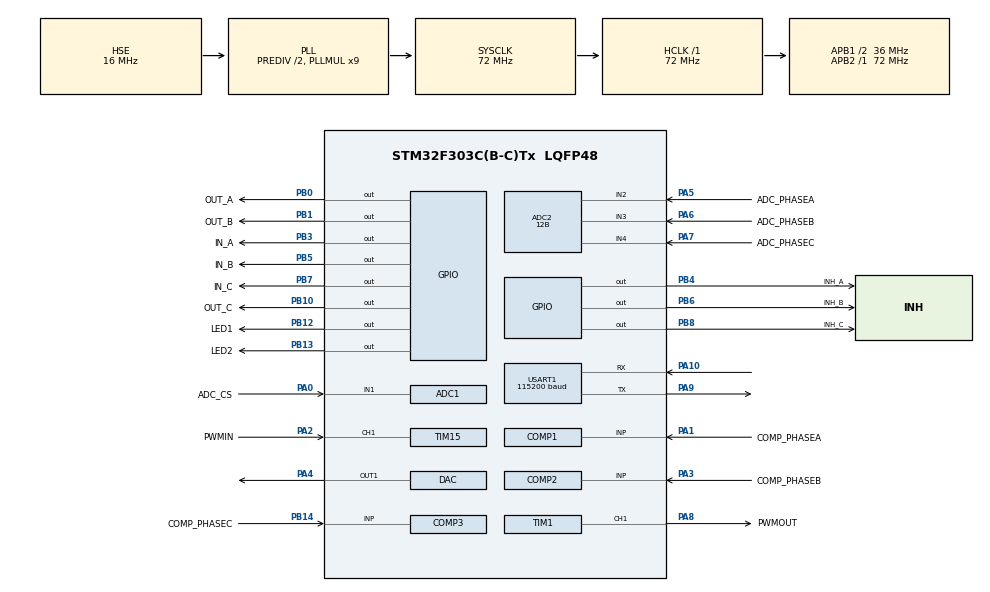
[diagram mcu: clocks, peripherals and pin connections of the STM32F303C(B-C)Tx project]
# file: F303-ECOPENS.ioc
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ADC1.Channel-0\#ChannelRegularConversion=ADC_CHANNEL_1
ADC1.ContinuousConvMode=ENABLE
ADC1.EnableInjectedConversion=DISABLE
ADC1.ExternalTrigConv=ADC_SOFTWARE_START
ADC1.ExternalTrigConvEdge=ADC_EXTERNALTRIGCONVEDGE_NONE
ADC1.NbrOfConversion=1
ADC1.NbrOfConversionFlag=1
ADC1.Offset-0\#ChannelRegularConversion=0
ADC1.OffsetNumber-0\#ChannelRegularConversion=ADC_OFFSET_NONE
ADC1.Rank-0\#ChannelRegularConversion=1
ADC1.SamplingTime-0\#ChannelRegularConversion=ADC_SAMPLETIME_2CYCLES_5
ADC1.SamplingTimeOPAMP-0\#ChannelRegularConversion=ADC_SAMPLETIME_4CYCLES_5
ADC1.master=1
ADC2.Channel-1\#ChannelRegularConversion=ADC_CHANNEL_2
ADC2.ContinuousConvMode=ENABLE
ADC2.EnableInjectedConversion=DISABLE
ADC2.ExternalTrigConv=ADC_SOFTWARE_START
ADC2.NbrOfConversion=1
ADC2.NbrOfConversionFlag=1
ADC2.Offset-1\#ChannelRegularConversion=0
ADC2.OffsetNumber-1\#ChannelRegularConversion=ADC_OFFSET_NONE
ADC2.Rank-1\#ChannelRegularConversion=1
ADC2.Resolution=ADC_RESOLUTION_12B
ADC2.SamplingTime-1\#ChannelRegularConversion=ADC_SAMPLETIME_2CYCLES_5
COMP1.BlankingSrce=COMP_BLANKINGSRCE_TIM1OC5
COMP1.InvertingInput=COMP_INVERTINGINPUT_DAC1_CH1
COMP1.TriggerMode=COMP_TRIGGERMODE_IT_RISING_FALLING
COMP2.BlankingSrce=COMP_BLANKINGSRCE_TIM1OC5
COMP2.InvertingInput=COMP_INVERTINGINPUT_DAC1_CH1
COMP2.TriggerMode=COMP_TRIGGERMODE_IT_RISING_FALLING
COMP3.BlankingSrce=COMP_BLANKINGSRCE_TIM1OC5
COMP3.InvertingInput=COMP_INVERTINGINPUT_DAC1_CH1
COMP3.TriggerMode=COMP_TRIGGERMODE_IT_RISING_FALLING
Dma.Request0=USART1_RX
Dma.USART1_RX.0.Direction=DMA_PERIPH_TO_MEMORY
Dma.USART1_RX.0.Instance=DMA1_Channel5
Dma.USART1_RX.0.MemDataAlignment=DMA_MDATAALIGN_BYTE
Dma.USART1_RX.0.MemInc=DMA_MINC_ENABLE
Dma.USART1_RX.0.Mode=DMA_CIRCULAR
Dma.USART1_RX.0.PeriphDataAlignment=DMA_PDATAALIGN_BYTE
Dma.USART1_RX.0.PeriphInc=DMA_PINC_DISABLE
Dma.USART1_RX.0.Priority=DMA_PRIORITY_LOW
Mcu.Family=STM32F3
Mcu.Name=STM32F303C(B-C)Tx
Mcu.Package=LQFP48
NVIC.ADC1_2_IRQn=true\:0\:0\:true\:false\:true\:true\:true
NVIC.COMP1_2_3_IRQn=true\:0\:0\:false\:false\:true\:false\:true
NVIC.DMA1_Channel5_IRQn=true\:0\:0\:false\:false\:true\:false\:true
NVIC.PriorityGroup=NVIC_PRIORITYGROUP_4
NVIC.TIM1_BRK_TIM15_IRQn=true\:0\:0\:true\:false\:true\:true\:true
NVIC.TIM1_CC_IRQn=true\:0\:0\:false\:false\:true\:true\:true
NVIC.TIM3_IRQn=true\:0\:0\:true\:false\:true\:true\:true
NVIC.TIM6_DAC_IRQn=true\:2\:0\:true\:false\:true\:true\:true
NVIC.USART1_IRQn=true\:1\:0\:true\:false\:true\:true\:true
PA0.GPIO_Label=ADC_CS
PA0.Mode=IN1-Single-Ended
PA0.Signal=ADC1_IN1
PA1.GPIO_Label=COMP_PHASEA
PA1.Mode=INP
PA1.Signal=COMP1_INP
PA10.Mode=Asynchronous
PA10.Signal=USART1_RX
PA13.Mode=Serial_Wire
PA13.Signal=SYS_JTMS-SWDIO
PA14.Mode=Serial_Wire
PA14.Signal=SYS_JTCK-SWCLK
PA2.GPIO_Label=PWMIN
PA2.GPIO_PuPd=GPIO_PULLDOWN
PA2.Signal=S_TIM15_CH1
PA3.GPIO_Label=COMP_PHASEB
PA3.Mode=INP
PA3.Signal=COMP2_INP
PA4.Signal=COMP_DAC1_group
PA5.GPIO_Label=ADC_PHASEA
PA5.Signal=SharedAnalog_PA5
PA6.GPIO_Label=ADC_PHASEB
PA6.Mode=IN3-Single-Ended
PA6.Signal=ADC2_IN3
PA7.GPIO_Label=ADC_PHASEC
PA7.Mode=IN4-Single-Ended
PA7.Signal=ADC2_IN4
PA8.GPIO_Label=PWMOUT
PA8.GPIO_PuPd=GPIO_PULLDOWN
PA8.GPIO_Speed=GPIO_SPEED_FREQ_MEDIUM
PA8.Signal=S_TIM1_CH1
PA9.Mode=Asynchronous
PA9.Signal=USART1_TX
PB0.GPIO_Label=OUT_A
PB0.GPIO_ModeDefaultOutputPP=GPIO_MODE_OUTPUT_OD
PB0.Signal=GPIO_Output
PB1.GPIO_Label=OUT_B
PB1.GPIO_ModeDefaultOutputPP=GPIO_MODE_OUTPUT_OD
PB1.Signal=GPIO_Output
PB10.GPIO_Label=OUT_C
PB10.GPIO_ModeDefaultOutputPP=GPIO_MODE_OUTPUT_OD
PB10.Signal=GPIO_Output
PB12.GPIO_Label=LED1
PB12.Signal=GPIO_Output
PB13.GPIO_Label=LED2
PB13.Signal=GPIO_Output
PB14.GPIO_Label=COMP_PHASEC
PB14.Mode=INP
PB14.Signal=COMP3_INP
PB3.GPIO_Label=IN_A
PB3.GPIO_ModeDefaultOutputPP=GPIO_MODE_OUTPUT_OD
PB3.Signal=GPIO_Output
PB4.GPIO_Label=INH_A
PB4.Signal=GPIO_Output
PB5.GPIO_Label=IN_B
PB5.GPIO_ModeDefaultOutputPP=GPIO_MODE_OUTPUT_OD
PB5.Signal=GPIO_Output
PB6.GPIO_Label=INH_B
PB6.Signal=GPIO_Output
PB7.GPIO_Label=IN_C
PB7.GPIO_ModeDefaultOutputPP=GPIO_MODE_OUTPUT_OD
PB7.Signal=GPIO_Output
PB8.GPIO_Label=INH_C
PB8.Signal=GPIO_Output
PF0-OSC_IN.Mode=HSE-External-Oscillator
PF0-OSC_IN.Signal=RCC_OSC_IN
PF1-OSC_OUT.Mode=HSE-External-Oscillator
PF1-OSC_OUT.Signal=RCC_OSC_OUT
ProjectManager.HeapSize=0x200
ProjectManager.StackSize=0x400
ProjectManager.TargetToolchain=STM32CubeIDE
RCC.ADC12PRES=RCC_ADC12PLLCLK_DIV10
RCC.AHBFreq_Value=72000000
RCC.APB1CLKDivider=RCC_HCLK_DIV2
RCC.APB1Freq_Value=36000000
RCC.APB1TimFreq_Value=72000000
RCC.APB2Freq_Value=72000000
RCC.APB2TimFreq_Value=72000000
RCC.CortexFreq_Value=72000000
RCC.HCLKFreq_Value=72000000
RCC.HSE_VALUE=16000000
RCC.HSI_VALUE=8000000
RCC.LSE_VALUE=32768
RCC.PLLMUL=RCC_PLL_MUL9
RCC.PLLSourceVirtual=RCC_PLLSOURCE_HSE
RCC.RCC_PLLsource_Clock_Source_FROM_HSE=RCC_HSE_PREDIV_DIV2
RCC.SYSCLKFreq_VALUE=72000000
RCC.SYSCLKSourceVirtual=RCC_SYSCLKSOURCE_PLLCLK
RCC.USBFreq_Value=72000000
SH.COMP_DAC1_group.0=DAC_OUT1,DAC_OUT1
SH.S_TIM15_CH1.0=TIM15_CH1,Input_Capture1_from_TI1
SH.S_TIM15_CH1.1=TIM15_CH1,Input_Capture2_from_TI1
SH.S_TIM1_CH1.0=TIM1_CH1,PWM Generation1 CH1
SH.SharedAnalog_PA5.0=OPAMP2_VINM
SH.SharedAnalog_PA5.1=ADC2_IN2,IN2-Single-Ended
TIM1.Channel-Output\ Compare2\ No\ Output=TIM_CHANNEL_2
TIM1.Channel-PWM\ Generation1\ CH1=TIM_CHANNEL_1
TIM1.Channel-PWM\ Generation5\ No\ Output=TIM_CHANNEL_5
TIM1.CounterMode=TIM_COUNTERMODE_CENTERALIGNED3
TIM1.OCFastMode_PWM-PWM\ Generation1\ CH1=TIM_OCFAST_ENABLE
TIM1.OCIdleState_1=TIM_OCIDLESTATE_SET
TIM1.OCIdleState_2=TIM_OCIDLESTATE_SET
TIM1.OCIdleState_5=TIM_OCIDLESTATE_RESET
TIM1.OCMode_2=TIM_OCMODE_TOGGLE
TIM1.Period=1800 - 1
TIM1.Prescaler=2 - 1
TIM1.Pulse-Output\ Compare2\ No\ Output=100
TIM1.Pulse-PWM\ Generation1\ CH1=100
TIM1.Pulse-PWM\ Generation5\ No\ Output=120
TIM15.Channel-Input_Capture1_from_TI1=TIM_CHANNEL_1
TIM15.Channel-Input_Capture2_from_TI1=TIM_CHANNEL_2
TIM15.ICPolarity_CH2=TIM_INPUTCHANNELPOLARITY_FALLING
TIM15.Prescaler=72 - 1
TIM2.Prescaler=0
TIM3.Channel-Output\ Compare1\ No\ Output=TIM_CHANNEL_1
TIM3.Channel-Output\ Compare2\ No\ Output=TIM_CHANNEL_2
TIM3.ClockDivision=TIM_CLOCKDIVISION_DIV1
TIM3.Period=65000
TIM3.Prescaler=1
TIM3.Pulse-Output\ Compare1\ No\ Output=500
TIM3.Pulse-Output\ Compare2\ No\ Output=500
TIM6.Period=1000 - 1
TIM6.Prescaler=72 - 1
TIM7.Prescaler=72 - 1
USART1.BaudRate=115200
USART1.VirtualMode-Asynchronous=VM_ASYNC
VP_COMP1_VS_DAC1OUT1.Mode=INM_DACOUT1
VP_COMP2_VS_DAC1OUT1.Mode=INM_DACOUT1
VP_COMP3_VS_DAC1OUT1.Mode=INM_DACOUT1
VP_TIM15_VS_ClockSourceINT.Mode=Internal
VP_TIM1_VS_no_output2.Mode=Output Compare2 No Output
VP_TIM1_VS_no_output5.Mode=PWM Generation5 No Output
VP_TIM2_VS_ClockSourceINT.Mode=Internal
VP_TIM3_VS_no_output1.Mode=Output Compare1 No Output
VP_TIM3_VS_no_output2.Mode=Output Compare2 No Output
VP_TIM6_VS_ClockSourceINT.Mode=Enable_Timer
VP_TIM7_VS_ClockSourceINT.Mode=Enable_Timer
board=custom

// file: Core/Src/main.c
/* USER CODE BEGIN Header */
/**
  ******************************************************************************
  * @file           : main.c
  * @brief          : Main program body
  ******************************************************************************
  * @attention
  *
  * <h2><center>&copy; Copyright (c) 2020 STMicroelectronics.
  * All rights reserved.</center></h2>
  *
  * This software component is licensed by ST under BSD 3-Clause license,
  * the "License"; You may not use this file except in compliance with the
  * License. You may obtain a copy of the License at:
  *                        opensource.org/licenses/BSD-3-Clause
  *
  ******************************************************************************
  */
/* USER CODE END Header */
#include "main.h"

/* USER CODE BEGIN Includes */
#include <string.h>
#include <stdbool.h>
#include <stdlib.h>
#include <stdio.h>
#include "dwt_delay.h"
/* USER CODE END Includes */

/* USER CODE BEGIN PTD */
typedef enum{
	MODE_MOTOR_STOP,
	MODE_MOTOR_START,
	MODE_MOTOR_RUN
} MODE_MOTOR_t;
/* USER CODE END PTD */

ADC_HandleTypeDef hadc1;
ADC_HandleTypeDef hadc2;

COMP_HandleTypeDef hcomp1;
COMP_HandleTypeDef hcomp2;
COMP_HandleTypeDef hcomp3;

DAC_HandleTypeDef hdac;

TIM_HandleTypeDef htim1;
TIM_HandleTypeDef htim2;
TIM_HandleTypeDef htim3;
TIM_HandleTypeDef htim6;
TIM_HandleTypeDef htim7;
TIM_HandleTypeDef htim15;

UART_HandleTypeDef huart1;
DMA_HandleTypeDef hdma_usart1_rx;

/* USER CODE BEGIN PV */
uint8_t buffer[200];
volatile uint16_t strSize;
volatile int commutationTimerCounter = 2000;
volatile uint16_t commutationTimerCounterArray[6] = { 20000, 20000, 2000, 20000, 20000, 20000 };
volatile uint8_t commutationStepCounter;
volatile uint8_t waitForCommutation = 1;
volatile uint16_t myADCvalue;
volatile uint16_t commutationTimerCounterAverage;
volatile uint16_t counterTIM3Values;
volatile int16_t commutationTimerOffset;

volatile uint32_t tim2cnt;
uint8_t RXBuffer[200];
bool USART1DataFlag = false;

volatile int16_t newPWM = 100;
volatile int16_t setPWM = 100;
volatile int16_t compWindowOffset = 300; //this opens a comparator window to block overshooting signals from triggering (adjust to Vbat)
volatile uint16_t oc5Value = 128;  //preset offset-value (for fine tuning) of the DAC voltage output as the reference voltage for the compartors (about 0V or Vbat/2)
volatile uint8_t pwmState = 0; //indicates whether a zero crossing (pwm low) or a Vbat/2 crossing (pwm high) will be detected; 0 = PWM low detection, 1 = PWM high detection
volatile uint8_t bTransferRequest = 0;
volatile uint8_t motorGotStarted = 0;

volatile ADC_ChannelConfTypeDef sConfig;
volatile float adcOffset = 0.00003f;
volatile float adcIntegral = 0.0f;
volatile uint8_t adcCounter = 0;
uint32_t current_senseADC;

volatile bool readRotation = false;

float measuredRPM = 0;
float inputRPM = 0;
uint32_t rpm_cnt = 0;

uint16_t input_pwm_min = 1000;
uint16_t input_pwm_max = 2000;

uint32_t inputDutyCycle = 0;
float inputFrequency = 0;
uint16_t oc5ValueOld = 0;

MODE_MOTOR_t mode_motor = MODE_MOTOR_STOP;
DMA_Event_t dma_uart_rx = {0, 0, DMA_BUF_SIZE};
uint8_t dma_rx_buf[DMA_BUF_SIZE];
uint8_t data[DMA_BUF_SIZE] = {'\0'};

/* USER CODE END PV */

void SystemClock_Config(void);
static void MX_GPIO_Init(void);
static void MX_DMA_Init(void);
static void MX_ADC1_Init(void);
static void MX_COMP1_Init(void);
static void MX_COMP2_Init(void);
static void MX_COMP3_Init(void);
static void MX_DAC_Init(void);
static void MX_TIM1_Init(void);
static void MX_TIM3_Init(void);
static void MX_USART1_UART_Init(void);
static void MX_ADC2_Init(void);
static void MX_TIM15_Init(void);
static void MX_TIM2_Init(void);
static void MX_TIM6_Init(void);
static void MX_TIM7_Init(void);
/* USER CODE BEGIN PFP */
void Controller(){
	float kp = 0.005f, ki = 0.0025f, kd = 0.00f;
	float error = (float)(inputRPM - measuredRPM);

	static float sumIntegral;
	sumIntegral += error * (tim2cnt / 72000000);
	sumIntegral = constrain(sumIntegral, -7000, 7000);

	static float preverror;
	float derivative = error - preverror * (tim2cnt / 72000000);
	preverror = error;

	float output = kp * error + ki * sumIntegral + kd * derivative;

	float pwmError = output / 5.11111;

	newPWM += (int16_t)pwmError;
	newPWM = constrain(newPWM + pwmError, PWM_MIN, PWM_MAX);
	setPWM = newPWM;

	TIM1->CCR1 = setPWM;
	TIM1->CCR5 = setPWM + compWindowOffset;

}

void getUSARTData(){
	 if(USART1DataFlag){
		 USART1DataFlag = false;
		 if(data[0] == '#'){
			 if(memcmp(data + 1, "PWM=", 4) == 0 || memcmp(data + 1, "pwm=", 4) == 0){
				uint8_t value[4];
				memcpy(value, data + 5, 4);
				uint16_t x = atoi(value);
				if(x){
					x = constrain(x, 1000, 2000);
					newPWM = map(x, 1000, 2000, PWM_MIN, PWM_MAX);
					setPWM = newPWM;

					TIM1->CCR1 = setPWM;
					TIM1->CCR5 = setPWM + compWindowOffset;

					strSize = sprintf((char*)buffer, "PWM: %d\r\n", newPWM);
					HAL_UART_Transmit(&huart1, buffer, strSize, 50);
				}
			}
			else if(memcmp(data + 1, "OCO=", 4) == 0 || memcmp(data + 1, "oco=", 4) == 0){
				uint8_t value[3];
				memcpy(value, data + 5, 3);
				uint16_t x = atoi(value);
				if(x) oc5Value  = constrain(x, 0, 255);
				strSize = sprintf((char*)buffer, "oc5: %d\r\n", oc5Value);
				HAL_UART_Transmit(&huart1, buffer, strSize, 50);
			}
			else if(memcmp(data + 1, "STA", 3) == 0 || memcmp(data + 1, "sta", 3) == 0){
				motorGotStarted = 1;
				strSize = sprintf((char*)buffer, "Start Motor\r\n");
				HAL_UART_Transmit(&huart1, buffer, strSize, 50);
			}
			else if(memcmp(data + 1, "STO", 3) == 0 || memcmp(data + 1, "sto", 3) == 0){
				newPWM = setPWM = 0;
				TIM1->CCR1 = setPWM;
				TIM1->CCR5 = setPWM + compWindowOffset;
				motorGotStarted = 0;
				strSize = sprintf((char*)buffer, "Stop Motor\r\n");
				HAL_UART_Transmit(&huart1, buffer, strSize, 50);
			}
		}
	 }
}
void commutateNow_0(void){
	HAL_GPIO_WritePin(INH_B_GPIO_Port, INH_B_Pin, GPIO_PIN_RESET);
	HAL_GPIO_WritePin(IN_C_GPIO_Port, IN_C_Pin, GPIO_PIN_RESET);
	HAL_GPIO_WritePin(INH_C_GPIO_Port, INH_C_Pin, GPIO_PIN_SET);
}

void commutateNow_1(void){
	HAL_GPIO_WritePin(INH_A_GPIO_Port, INH_A_Pin, GPIO_PIN_RESET);
	HAL_GPIO_WritePin(IN_B_GPIO_Port, IN_B_Pin, GPIO_PIN_SET);
	HAL_GPIO_WritePin(INH_B_GPIO_Port, INH_B_Pin, GPIO_PIN_SET);
}

void commutateNow_2(void){
	HAL_GPIO_WritePin(IN_A_GPIO_Port, IN_A_Pin, GPIO_PIN_RESET);
	HAL_GPIO_WritePin(INH_A_GPIO_Port, INH_A_Pin, GPIO_PIN_SET);
	HAL_GPIO_WritePin(INH_C_GPIO_Port, INH_C_Pin, GPIO_PIN_RESET);
}

void commutateNow_3(void){
	HAL_GPIO_WritePin(INH_B_GPIO_Port, INH_B_Pin, GPIO_PIN_RESET); //INH_B connected to ground, IC B Sleep Mode
	HAL_GPIO_WritePin(IN_C_GPIO_Port, IN_C_Pin, GPIO_PIN_SET); //IN_C floating, pwm mode
	HAL_GPIO_WritePin(INH_C_GPIO_Port, INH_C_Pin, GPIO_PIN_SET); //INH_C is high, IC C Active Mode

}

void commutateNow_4(void){
	HAL_GPIO_WritePin(INH_A_GPIO_Port, INH_A_Pin, GPIO_PIN_RESET); //INH_A connected to ground, IC A Sleep Mode
	HAL_GPIO_WritePin(IN_B_GPIO_Port, IN_B_Pin, GPIO_PIN_RESET); //IN_B connected to ground
	HAL_GPIO_WritePin(INH_B_GPIO_Port, INH_B_Pin, GPIO_PIN_SET); //INH_B is high, IC B Active Mode

}
void commutateNow_5(void){
	HAL_GPIO_WritePin(IN_A_GPIO_Port, IN_A_Pin, GPIO_PIN_SET); //IN_A connected to ground, PWM Mode
	HAL_GPIO_WritePin(INH_A_GPIO_Port, INH_A_Pin, GPIO_PIN_SET); //INH_A is HIGH, IC A Active Mode
	HAL_GPIO_WritePin(INH_C_GPIO_Port, INH_C_Pin, GPIO_PIN_RESET); //INH_C connected to ground, IC C Sleep Mode
}

void commutationPattern(uint8_t step){
	if (step == NEXT && waitForCommutation == 1) {
		if (commutationStepCounter < STEP_5)
			commutationStepCounter++;
		else{
			tim2cnt = __HAL_TIM_GET_COUNTER(&htim2);
			__HAL_TIM_SET_COUNTER(&htim2, 0);
			measuredRPM = getRPM(tim2cnt);
			commutationStepCounter = STEP_0;
			//Controller();
		}
		switch (commutationStepCounter) {
		case STEP_0:
			commutateNow_0();
			COMPDELAY;
			waitForCommutation = 0;
			HAL_COMP_Start_IT(&hcomp2);
			break;
		case STEP_1:
			commutateNow_1();
			COMPDELAY;
			waitForCommutation = 0;
			HAL_COMP_Start_IT(&hcomp1);
			break;
		case STEP_2:
			commutateNow_2();
			COMPDELAY;
			waitForCommutation = 0;
			HAL_COMP_Start_IT(&hcomp3);
			break;
		case STEP_3:
			commutateNow_3();
			COMPDELAY;
			waitForCommutation = 0;
			HAL_COMP_Start_IT(&hcomp2);
			break;
		case STEP_4:
			commutateNow_4();
			COMPDELAY;
			waitForCommutation = 0;
			HAL_COMP_Start_IT(&hcomp1);
			break;
		case STEP_5:
			commutateNow_5();
			COMPDELAY;
			waitForCommutation = 0;
			HAL_COMP_Start_IT(&hcomp3);
			break;
		}
	} else {
		waitForCommutation = 0;
		switch (step) {
		case STEP_0:
			commutateNow_0();
			break;
		case STEP_1:
			commutateNow_1();
			break;
		case STEP_2:
			commutateNow_2();
			break;
		case STEP_3:
			commutateNow_3();
			break;
		case STEP_4:
			commutateNow_4();
			break;
		case STEP_5:
			commutateNow_5();
			break;
		}
	}
	//Controller();
}

/*void startMotor(void){
	newPWM = setPWM = 300;
	compWindowOffset = 200;
	TIM1->CCR1 = setPWM;
	TIM1->CCR5 = setPWM + compWindowOffset;

	commutateNow_0();
	HAL_Delay(150);
	commutationStepCounter = STEP_0;
	waitForCommutation = 1;

	for (uint16_t i = 0; i <1; i++) {
		commutationPattern(NEXT);
		waitForCommutation = 1;
		HAL_Delay(150);
	}
	HAL_Delay(150);
	motorGotStarted = 2;
}*/

void startMotor(){
	mode_motor = MODE_MOTOR_START;
	newPWM = setPWM = 200;

	TIM1->CCR1 = setPWM;
	TIM1->CCR5 = setPWM + compWindowOffset;

	uint8_t step = 0;
	uint16_t i = 2020;

	while(i > 1300){
		DWT_Delay(i);
		commutationPattern(step);
		step += 1;
		step %= 6;
		i -= 10;
		//DWT_Delay(10);
	}
	/*commutateNow_0();
	HAL_Delay(20);
	commutateNow_2();
	HAL_Delay(20);
	commutateNow_4();
	HAL_Delay(20);
	commutateNow_5();
	HAL_Delay(20);*/
	commutationStepCounter = STEP_0;
	waitForCommutation = 1;
	__HAL_TIM_SET_COUNTER(&htim2, 0);
	commutationPattern(NEXT);
	waitForCommutation = 1;
	motorGotStarted = 2;
}

/* USER CODE END PFP */

int main(void)
{

  /* MCU Configuration--------------------------------------------------------*/

  /* Reset of all peripherals, Initializes the Flash interface and the Systick. */
  HAL_Init();

  /* Configure the system clock */
  SystemClock_Config();

  /* Initialize all configured peripherals */
  MX_GPIO_Init();
  MX_DMA_Init();
  MX_ADC1_Init();
  MX_COMP1_Init();
  MX_COMP2_Init();
  MX_COMP3_Init();
  MX_DAC_Init();
  MX_TIM1_Init();
  MX_TIM3_Init();
  MX_USART1_UART_Init();
  MX_ADC2_Init();
  MX_TIM15_Init();
  MX_TIM2_Init();
  MX_TIM6_Init();
  MX_TIM7_Init();
  /* USER CODE BEGIN 2 */
  HAL_Delay(500);
  DWT_Init();

  HAL_TIM_Base_Start(&htim2);
  HAL_TIM_Base_Start_IT(&htim6);

  sConfig.Rank = ADC_REGULAR_RANK_1;
  sConfig.SingleDiff = ADC_SINGLE_ENDED;
  sConfig.SamplingTime = ADC_SAMPLETIME_7CYCLES_5;
  sConfig.OffsetNumber = ADC_OFFSET_NONE;
  sConfig.Offset = 0;

  //HAL_ADC_Start(&hadc2);

  HAL_TIM_PWM_Start(&htim1, TIM_CHANNEL_1);
  HAL_TIM_PWM_Start(&htim1, TIM_CHANNEL_5);
  HAL_TIM_OC_Start(&htim1, TIM_CHANNEL_2);
  HAL_TIM_Base_Start(&htim7);

  //HAL_TIM_OC_Start_IT(&htim3, TIM_CHANNEL_1);
  HAL_DAC_Start(&hdac, DAC_CHANNEL_1);
  HAL_DAC_SetValue(&hdac, DAC_CHANNEL_1, DAC_ALIGN_12B_R, 0);
  newPWM = setPWM = TIM1->CCR1 = TIM1->CCR5 = 0;

  __HAL_UART_ENABLE_IT(&huart1, UART_IT_IDLE);

  if(HAL_UART_Receive_DMA(&huart1, dma_rx_buf, DMA_BUF_SIZE) != HAL_OK){
	  Error_Handler();
  }

  __HAL_DMA_DISABLE_IT(huart1.hdmarx, DMA_IT_HT);

  HAL_TIM_IC_Start_IT(&htim15, TIM_CHANNEL_1);
  HAL_TIM_IC_Start_IT(&htim15, TIM_CHANNEL_2);

  strSize = sprintf((char*)buffer, "Test\r\n");
  HAL_UART_Transmit(&huart1, buffer, strSize, 10);
  HAL_GPIO_WritePin(GPIOB, LED1_Pin, GPIO_PIN_SET);
  motorGotStarted = 0;

  /* USER CODE END 2 */

  /* Infinite loop */
  /* USER CODE BEGIN WHILE */
  while (1)
  {
	  if(motorGotStarted == 1){
		  startMotor();
		  HAL_ADC_Start(&hadc1);
	  }

	  strSize = sprintf((char*)buffer, "%f\r\n", measuredRPM);
	  HAL_UART_Transmit(&huart1, buffer, strSize, 10);
	  //uint32_t x = adcIntegral;
	  getUSARTData();
	  //strSize=sprintf((char*)buffer, "ulang\r\n");
	  //HAL_UART_Transmit(&huart1, buffer, strSize, 10);
	  /*if(readRotation){
		  static float xyz;
		  xyz = (float)tim2cnt;
		  rpm = getRPM(xyz);
		  //strSize = sprintf((char*)buffer, "%f\r\n", rpm);
		  //HAL_UART_Transmit_IT(&huart1, buffer, strSize);
		  readRotation = false;
	  }*/
		if(__HAL_ADC_GET_FLAG(&hadc1, ADC_FLAG_EOC) == SET){
			current_senseADC = HAL_ADC_GetValue(&hadc1);
			//strSize = sprintf((char*)buffer, "%lu\r\n", current_senseADC);
			//HAL_UART_Transmit_IT(&huart1, buffer, strSize);
		}

    /* USER CODE END WHILE */

  }
}

void SystemClock_Config(void)
{
  RCC_OscInitTypeDef RCC_OscInitStruct = {0};
  RCC_ClkInitTypeDef RCC_ClkInitStruct = {0};
  RCC_PeriphCLKInitTypeDef PeriphClkInit = {0};

  /** Initializes the RCC Oscillators according to the specified parameters
  * in the RCC_OscInitTypeDef structure.
  */
  RCC_OscInitStruct.OscillatorType = RCC_OSCILLATORTYPE_HSE;
  RCC_OscInitStruct.HSEState = RCC_HSE_ON;
  RCC_OscInitStruct.HSEPredivValue = RCC_HSE_PREDIV_DIV2;
  RCC_OscInitStruct.HSIState = RCC_HSI_ON;
  RCC_OscInitStruct.PLL.PLLState = RCC_PLL_ON;
  RCC_OscInitStruct.PLL.PLLSource = RCC_PLLSOURCE_HSE;
  RCC_OscInitStruct.PLL.PLLMUL = RCC_PLL_MUL9;
  if (HAL_RCC_OscConfig(&RCC_OscInitStruct) != HAL_OK)
  {
    Error_Handler();
  }
  /** Initializes the CPU, AHB and APB buses clocks
  */
  RCC_ClkInitStruct.ClockType = RCC_CLOCKTYPE_HCLK|RCC_CLOCKTYPE_SYSCLK
                              |RCC_CLOCKTYPE_PCLK1|RCC_CLOCKTYPE_PCLK2;
  RCC_ClkInitStruct.SYSCLKSource = RCC_SYSCLKSOURCE_PLLCLK;
  RCC_ClkInitStruct.AHBCLKDivider = RCC_SYSCLK_DIV1;
  RCC_ClkInitStruct.APB1CLKDivider = RCC_HCLK_DIV2;
  RCC_ClkInitStruct.APB2CLKDivider = RCC_HCLK_DIV1;

  if (HAL_RCC_ClockConfig(&RCC_ClkInitStruct, FLASH_LATENCY_2) != HAL_OK)
  {
    Error_Handler();
  }
  PeriphClkInit.PeriphClockSelection = RCC_PERIPHCLK_USART1|RCC_PERIPHCLK_TIM1
                              |RCC_PERIPHCLK_ADC12;
  PeriphClkInit.Usart1ClockSelection = RCC_USART1CLKSOURCE_PCLK2;
  PeriphClkInit.Adc12ClockSelection = RCC_ADC12PLLCLK_DIV10;
  PeriphClkInit.Tim1ClockSelection = RCC_TIM1CLK_HCLK;
  if (HAL_RCCEx_PeriphCLKConfig(&PeriphClkInit) != HAL_OK)
  {
    Error_Handler();
  }
}

static void MX_ADC1_Init(void)
{

  ADC_MultiModeTypeDef multimode = {0};
  ADC_ChannelConfTypeDef sConfig = {0};

  /** Common config
  */
  hadc1.Instance = ADC1;
  hadc1.Init.ClockPrescaler = ADC_CLOCK_ASYNC_DIV1;
  hadc1.Init.Resolution = ADC_RESOLUTION_12B;
  hadc1.Init.ScanConvMode = ADC_SCAN_DISABLE;
  hadc1.Init.ContinuousConvMode = ENABLE;
  hadc1.Init.DiscontinuousConvMode = DISABLE;
  hadc1.Init.ExternalTrigConvEdge = ADC_EXTERNALTRIGCONVEDGE_NONE;
  hadc1.Init.ExternalTrigConv = ADC_SOFTWARE_START;
  hadc1.Init.DataAlign = ADC_DATAALIGN_RIGHT;
  hadc1.Init.NbrOfConversion = 1;
  hadc1.Init.DMAContinuousRequests = DISABLE;
  hadc1.Init.EOCSelection = ADC_EOC_SINGLE_CONV;
  hadc1.Init.LowPowerAutoWait = DISABLE;
  hadc1.Init.Overrun = ADC_OVR_DATA_OVERWRITTEN;
  if (HAL_ADC_Init(&hadc1) != HAL_OK)
  {
    Error_Handler();
  }
  /** Configure the ADC multi-mode
  */
  multimode.Mode = ADC_MODE_INDEPENDENT;
  if (HAL_ADCEx_MultiModeConfigChannel(&hadc1, &multimode) != HAL_OK)
  {
    Error_Handler();
  }
  /** Configure Regular Channel
  */
  sConfig.Channel = ADC_CHANNEL_1;
  sConfig.Rank = ADC_REGULAR_RANK_1;
  sConfig.SingleDiff = ADC_SINGLE_ENDED;
  sConfig.SamplingTime = ADC_SAMPLETIME_2CYCLES_5;
  sConfig.OffsetNumber = ADC_OFFSET_NONE;
  sConfig.Offset = 0;
  if (HAL_ADC_ConfigChannel(&hadc1, &sConfig) != HAL_OK)
  {
    Error_Handler();
  }

}

static void MX_ADC2_Init(void)
{

  ADC_ChannelConfTypeDef sConfig = {0};

  /** Common config
  */
  hadc2.Instance = ADC2;
  hadc2.Init.ClockPrescaler = ADC_CLOCK_ASYNC_DIV1;
  hadc2.Init.Resolution = ADC_RESOLUTION_12B;
  hadc2.Init.ScanConvMode = ADC_SCAN_DISABLE;
  hadc2.Init.ContinuousConvMode = ENABLE;
  hadc2.Init.DiscontinuousConvMode = DISABLE;
  hadc2.Init.ExternalTrigConvEdge = ADC_EXTERNALTRIGCONVEDGE_NONE;
  hadc2.Init.ExternalTrigConv = ADC_SOFTWARE_START;
  hadc2.Init.DataAlign = ADC_DATAALIGN_RIGHT;
  hadc2.Init.NbrOfConversion = 1;
  hadc2.Init.DMAContinuousRequests = DISABLE;
  hadc2.Init.EOCSelection = ADC_EOC_SINGLE_CONV;
  hadc2.Init.LowPowerAutoWait = DISABLE;
  hadc2.Init.Overrun = ADC_OVR_DATA_OVERWRITTEN;
  if (HAL_ADC_Init(&hadc2) != HAL_OK)
  {
    Error_Handler();
  }
  /** Configure Regular Channel
  */
  sConfig.Channel = ADC_CHANNEL_2;
  sConfig.Rank = ADC_REGULAR_RANK_1;
  sConfig.SingleDiff = ADC_SINGLE_ENDED;
  sConfig.SamplingTime = ADC_SAMPLETIME_2CYCLES_5;
  sConfig.OffsetNumber = ADC_OFFSET_NONE;
  sConfig.Offset = 0;
  if (HAL_ADC_ConfigChannel(&hadc2, &sConfig) != HAL_OK)
  {
    Error_Handler();
  }

}

static void MX_COMP1_Init(void)
{

  hcomp1.Instance = COMP1;
  hcomp1.Init.InvertingInput = COMP_INVERTINGINPUT_DAC1_CH1;
  hcomp1.Init.NonInvertingInput = COMP_NONINVERTINGINPUT_IO1;
  hcomp1.Init.Output = COMP_OUTPUT_NONE;
  hcomp1.Init.OutputPol = COMP_OUTPUTPOL_NONINVERTED;
  hcomp1.Init.Hysteresis = COMP_HYSTERESIS_NONE;
  hcomp1.Init.BlankingSrce = COMP_BLANKINGSRCE_TIM1OC5;
  hcomp1.Init.Mode = COMP_MODE_HIGHSPEED;
  hcomp1.Init.WindowMode = COMP_WINDOWMODE_DISABLE;
  hcomp1.Init.TriggerMode = COMP_TRIGGERMODE_IT_RISING_FALLING;
  if (HAL_COMP_Init(&hcomp1) != HAL_OK)
  {
    Error_Handler();
  }

}

static void MX_COMP2_Init(void)
{

  hcomp2.Instance = COMP2;
  hcomp2.Init.InvertingInput = COMP_INVERTINGINPUT_DAC1_CH1;
  hcomp2.Init.NonInvertingInput = COMP_NONINVERTINGINPUT_IO2;
  hcomp2.Init.Output = COMP_OUTPUT_NONE;
  hcomp2.Init.OutputPol = COMP_OUTPUTPOL_NONINVERTED;
  hcomp2.Init.Hysteresis = COMP_HYSTERESIS_NONE;
  hcomp2.Init.BlankingSrce = COMP_BLANKINGSRCE_TIM1OC5;
  hcomp2.Init.Mode = COMP_MODE_HIGHSPEED;
  hcomp2.Init.WindowMode = COMP_WINDOWMODE_DISABLE;
  hcomp2.Init.TriggerMode = COMP_TRIGGERMODE_IT_RISING_FALLING;
  if (HAL_COMP_Init(&hcomp2) != HAL_OK)
  {
    Error_Handler();
  }

}

static void MX_COMP3_Init(void)
{

  hcomp3.Instance = COMP3;
  hcomp3.Init.InvertingInput = COMP_INVERTINGINPUT_DAC1_CH1;
  hcomp3.Init.NonInvertingInput = COMP_NONINVERTINGINPUT_IO1;
  hcomp3.Init.Output = COMP_OUTPUT_NONE;
  hcomp3.Init.OutputPol = COMP_OUTPUTPOL_NONINVERTED;
  hcomp3.Init.Hysteresis = COMP_HYSTERESIS_NONE;
  hcomp3.Init.BlankingSrce = COMP_BLANKINGSRCE_TIM1OC5;
  hcomp3.Init.Mode = COMP_MODE_HIGHSPEED;
  hcomp3.Init.WindowMode = COMP_WINDOWMODE_DISABLE;
  hcomp3.Init.TriggerMode = COMP_TRIGGERMODE_IT_RISING_FALLING;
  if (HAL_COMP_Init(&hcomp3) != HAL_OK)
  {
    Error_Handler();
  }

}

static void MX_DAC_Init(void)
{

  DAC_ChannelConfTypeDef sConfig = {0};

  /** DAC Initialization
  */
  hdac.Instance = DAC;
  if (HAL_DAC_Init(&hdac) != HAL_OK)
  {
    Error_Handler();
  }
  /** DAC channel OUT1 config
  */
  sConfig.DAC_Trigger = DAC_TRIGGER_NONE;
  sConfig.DAC_OutputBuffer = DAC_OUTPUTBUFFER_ENABLE;
  if (HAL_DAC_ConfigChannel(&hdac, &sConfig, DAC_CHANNEL_1) != HAL_OK)
  {
    Error_Handler();
  }

}

static void MX_TIM1_Init(void)
{

  TIM_MasterConfigTypeDef sMasterConfig = {0};
  TIM_OC_InitTypeDef sConfigOC = {0};
  TIM_BreakDeadTimeConfigTypeDef sBreakDeadTimeConfig = {0};

  htim1.Instance = TIM1;
  htim1.Init.Prescaler = 2 - 1;
  htim1.Init.CounterMode = TIM_COUNTERMODE_CENTERALIGNED3;
  htim1.Init.Period = 1800 - 1;
  htim1.Init.ClockDivision = TIM_CLOCKDIVISION_DIV1;
  htim1.Init.RepetitionCounter = 0;
  htim1.Init.AutoReloadPreload = TIM_AUTORELOAD_PRELOAD_DISABLE;
  if (HAL_TIM_PWM_Init(&htim1) != HAL_OK)
  {
    Error_Handler();
  }
  if (HAL_TIM_OC_Init(&htim1) != HAL_OK)
  {
    Error_Handler();
  }
  sMasterConfig.MasterOutputTrigger = TIM_TRGO_RESET;
  sMasterConfig.MasterOutputTrigger2 = TIM_TRGO2_RESET;
  sMasterConfig.MasterSlaveMode = TIM_MASTERSLAVEMODE_DISABLE;
  if (HAL_TIMEx_MasterConfigSynchronization(&htim1, &sMasterConfig) != HAL_OK)
  {
    Error_Handler();
  }
  sConfigOC.OCMode = TIM_OCMODE_PWM1;
  sConfigOC.Pulse = 100;
  sConfigOC.OCPolarity = TIM_OCPOLARITY_HIGH;
  sConfigOC.OCNPolarity = TIM_OCNPOLARITY_HIGH;
  sConfigOC.OCFastMode = TIM_OCFAST_ENABLE;
  sConfigOC.OCIdleState = TIM_OCIDLESTATE_SET;
  sConfigOC.OCNIdleState = TIM_OCNIDLESTATE_RESET;
  if (HAL_TIM_PWM_ConfigChannel(&htim1, &sConfigOC, TIM_CHANNEL_1) != HAL_OK)
  {
    Error_Handler();
  }
  sConfigOC.OCMode = TIM_OCMODE_TOGGLE;
  sConfigOC.OCFastMode = TIM_OCFAST_DISABLE;
  if (HAL_TIM_OC_ConfigChannel(&htim1, &sConfigOC, TIM_CHANNEL_2) != HAL_OK)
  {
    Error_Handler();
  }
  sConfigOC.OCMode = TIM_OCMODE_PWM1;
  sConfigOC.Pulse = 120;
  sConfigOC.OCIdleState = TIM_OCIDLESTATE_RESET;
  if (HAL_TIM_PWM_ConfigChannel(&htim1, &sConfigOC, TIM_CHANNEL_5) != HAL_OK)
  {
    Error_Handler();
  }
  sBreakDeadTimeConfig.OffStateRunMode = TIM_OSSR_DISABLE;
  sBreakDeadTimeConfig.OffStateIDLEMode = TIM_OSSI_DISABLE;
  sBreakDeadTimeConfig.LockLevel = TIM_LOCKLEVEL_OFF;
  sBreakDeadTimeConfig.DeadTime = 0;
  sBreakDeadTimeConfig.BreakState = TIM_BREAK_DISABLE;
  sBreakDeadTimeConfig.BreakPolarity = TIM_BREAKPOLARITY_HIGH;
  sBreakDeadTimeConfig.BreakFilter = 0;
  sBreakDeadTimeConfig.Break2State = TIM_BREAK2_DISABLE;
  sBreakDeadTimeConfig.Break2Polarity = TIM_BREAK2POLARITY_HIGH;
  sBreakDeadTimeConfig.Break2Filter = 0;
  sBreakDeadTimeConfig.AutomaticOutput = TIM_AUTOMATICOUTPUT_DISABLE;
  if (HAL_TIMEx_ConfigBreakDeadTime(&htim1, &sBreakDeadTimeConfig) != HAL_OK)
  {
    Error_Handler();
  }
  HAL_TIM_MspPostInit(&htim1);

}

static void MX_TIM2_Init(void)
{

  TIM_ClockConfigTypeDef sClockSourceConfig = {0};
  TIM_MasterConfigTypeDef sMasterConfig = {0};

  htim2.Instance = TIM2;
  htim2.Init.Prescaler = 0;
  htim2.Init.CounterMode = TIM_COUNTERMODE_UP;
  htim2.Init.Period = 4294967295;
  htim2.Init.ClockDivision = TIM_CLOCKDIVISION_DIV1;
  htim2.Init.AutoReloadPreload = TIM_AUTORELOAD_PRELOAD_DISABLE;
  if (HAL_TIM_Base_Init(&htim2) != HAL_OK)
  {
    Error_Handler();
  }
  sClockSourceConfig.ClockSource = TIM_CLOCKSOURCE_INTERNAL;
  if (HAL_TIM_ConfigClockSource(&htim2, &sClockSourceConfig) != HAL_OK)
  {
    Error_Handler();
  }
  sMasterConfig.MasterOutputTrigger = TIM_TRGO_RESET;
  sMasterConfig.MasterSlaveMode = TIM_MASTERSLAVEMODE_DISABLE;
  if (HAL_TIMEx_MasterConfigSynchronization(&htim2, &sMasterConfig) != HAL_OK)
  {
    Error_Handler();
  }

}

static void MX_TIM3_Init(void)
{

  TIM_MasterConfigTypeDef sMasterConfig = {0};
  TIM_OC_InitTypeDef sConfigOC = {0};

  htim3.Instance = TIM3;
  htim3.Init.Prescaler = 1;
  htim3.Init.CounterMode = TIM_COUNTERMODE_UP;
  htim3.Init.Period = 65000;
  htim3.Init.ClockDivision = TIM_CLOCKDIVISION_DIV1;
  htim3.Init.AutoReloadPreload = TIM_AUTORELOAD_PRELOAD_DISABLE;
  if (HAL_TIM_OC_Init(&htim3) != HAL_OK)
  {
    Error_Handler();
  }
  sMasterConfig.MasterOutputTrigger = TIM_TRGO_RESET;
  sMasterConfig.MasterSlaveMode = TIM_MASTERSLAVEMODE_DISABLE;
  if (HAL_TIMEx_MasterConfigSynchronization(&htim3, &sMasterConfig) != HAL_OK)
  {
    Error_Handler();
  }
  sConfigOC.OCMode = TIM_OCMODE_TIMING;
  sConfigOC.Pulse = 500;
  sConfigOC.OCPolarity = TIM_OCPOLARITY_HIGH;
  sConfigOC.OCFastMode = TIM_OCFAST_DISABLE;
  if (HAL_TIM_OC_ConfigChannel(&htim3, &sConfigOC, TIM_CHANNEL_1) != HAL_OK)
  {
    Error_Handler();
  }
  if (HAL_TIM_OC_ConfigChannel(&htim3, &sConfigOC, TIM_CHANNEL_2) != HAL_OK)
  {
    Error_Handler();
  }

}

static void MX_TIM6_Init(void)
{

  TIM_MasterConfigTypeDef sMasterConfig = {0};

  htim6.Instance = TIM6;
  htim6.Init.Prescaler = 72 - 1;
  htim6.Init.CounterMode = TIM_COUNTERMODE_UP;
  htim6.Init.Period = 1000 - 1;
  htim6.Init.AutoReloadPreload = TIM_AUTORELOAD_PRELOAD_DISABLE;
  if (HAL_TIM_Base_Init(&htim6) != HAL_OK)
  {
    Error_Handler();
  }
  sMasterConfig.MasterOutputTrigger = TIM_TRGO_RESET;
  sMasterConfig.MasterSlaveMode = TIM_MASTERSLAVEMODE_DISABLE;
  if (HAL_TIMEx_MasterConfigSynchronization(&htim6, &sMasterConfig) != HAL_OK)
  {
    Error_Handler();
  }

}

static void MX_TIM7_Init(void)
{

  TIM_MasterConfigTypeDef sMasterConfig = {0};

  htim7.Instance = TIM7;
  htim7.Init.Prescaler = 72 - 1;
  htim7.Init.CounterMode = TIM_COUNTERMODE_UP;
  htim7.Init.Period = 65535;
  htim7.Init.AutoReloadPreload = TIM_AUTORELOAD_PRELOAD_DISABLE;
  if (HAL_TIM_Base_Init(&htim7) != HAL_OK)
  {
    Error_Handler();
  }
  sMasterConfig.MasterOutputTrigger = TIM_TRGO_RESET;
  sMasterConfig.MasterSlaveMode = TIM_MASTERSLAVEMODE_DISABLE;
  if (HAL_TIMEx_MasterConfigSynchronization(&htim7, &sMasterConfig) != HAL_OK)
  {
    Error_Handler();
  }

}

static void MX_TIM15_Init(void)
{

  TIM_ClockConfigTypeDef sClockSourceConfig = {0};
  TIM_MasterConfigTypeDef sMasterConfig = {0};
  TIM_IC_InitTypeDef sConfigIC = {0};

  htim15.Instance = TIM15;
  htim15.Init.Prescaler = 72 - 1;
  htim15.Init.CounterMode = TIM_COUNTERMODE_UP;
  htim15.Init.Period = 65535;
  htim15.Init.ClockDivision = TIM_CLOCKDIVISION_DIV1;
  htim15.Init.RepetitionCounter = 0;
  htim15.Init.AutoReloadPreload = TIM_AUTORELOAD_PRELOAD_DISABLE;
  if (HAL_TIM_Base_Init(&htim15) != HAL_OK)
  {
    Error_Handler();
  }
  sClockSourceConfig.ClockSource = TIM_CLOCKSOURCE_INTERNAL;
  if (HAL_TIM_ConfigClockSource(&htim15, &sClockSourceConfig) != HAL_OK)
  {
    Error_Handler();
  }
  if (HAL_TIM_IC_Init(&htim15) != HAL_OK)
  {
    Error_Handler();
  }
  sMasterConfig.MasterOutputTrigger = TIM_TRGO_RESET;
  sMasterConfig.MasterSlaveMode = TIM_MASTERSLAVEMODE_DISABLE;
  if (HAL_TIMEx_MasterConfigSynchronization(&htim15, &sMasterConfig) != HAL_OK)
  {
    Error_Handler();
  }
  sConfigIC.ICPolarity = TIM_INPUTCHANNELPOLARITY_RISING;
  sConfigIC.ICSelection = TIM_ICSELECTION_DIRECTTI;
  sConfigIC.ICPrescaler = TIM_ICPSC_DIV1;
  sConfigIC.ICFilter = 0;
  if (HAL_TIM_IC_ConfigChannel(&htim15, &sConfigIC, TIM_CHANNEL_1) != HAL_OK)
  {
    Error_Handler();
  }
  sConfigIC.ICPolarity = TIM_INPUTCHANNELPOLARITY_FALLING;
  sConfigIC.ICSelection = TIM_ICSELECTION_INDIRECTTI;
  if (HAL_TIM_IC_ConfigChannel(&htim15, &sConfigIC, TIM_CHANNEL_2) != HAL_OK)
  {
    Error_Handler();
  }

}

static void MX_USART1_UART_Init(void)
{

  huart1.Instance = USART1;
  huart1.Init.BaudRate = 115200;
  huart1.Init.WordLength = UART_WORDLENGTH_8B;
  huart1.Init.StopBits = UART_STOPBITS_1;
  huart1.Init.Parity = UART_PARITY_NONE;
  huart1.Init.Mode = UART_MODE_TX_RX;
  huart1.Init.HwFlowCtl = UART_HWCONTROL_NONE;
  huart1.Init.OverSampling = UART_OVERSAMPLING_16;
  huart1.Init.OneBitSampling = UART_ONE_BIT_SAMPLE_DISABLE;
  huart1.AdvancedInit.AdvFeatureInit = UART_ADVFEATURE_NO_INIT;
  if (HAL_UART_Init(&huart1) != HAL_OK)
  {
    Error_Handler();
  }

}

static void MX_DMA_Init(void)
{

  /* DMA controller clock enable */
  __HAL_RCC_DMA1_CLK_ENABLE();

  /* DMA interrupt init */
  /* DMA1_Channel5_IRQn interrupt configuration */
  HAL_NVIC_SetPriority(DMA1_Channel5_IRQn, 0, 0);
  HAL_NVIC_EnableIRQ(DMA1_Channel5_IRQn);

}

static void MX_GPIO_Init(void)
{
  GPIO_InitTypeDef GPIO_InitStruct = {0};

  /* GPIO Ports Clock Enable */
  __HAL_RCC_GPIOF_CLK_ENABLE();
  __HAL_RCC_GPIOA_CLK_ENABLE();
  __HAL_RCC_GPIOB_CLK_ENABLE();

  /*Configure GPIO pin Output Level */
  HAL_GPIO_WritePin(GPIOB, OUT_A_Pin|OUT_B_Pin|OUT_C_Pin|LED1_Pin
                          |LED2_Pin|IN_A_Pin|INH_A_Pin|IN_B_Pin
                          |INH_B_Pin|IN_C_Pin|INH_C_Pin, GPIO_PIN_RESET);

  /*Configure GPIO pin : ADC_PHASEA_Pin */
  GPIO_InitStruct.Pin = ADC_PHASEA_Pin;
  GPIO_InitStruct.Mode = GPIO_MODE_ANALOG;
  GPIO_InitStruct.Pull = GPIO_NOPULL;
  HAL_GPIO_Init(ADC_PHASEA_GPIO_Port, &GPIO_InitStruct);

  /*Configure GPIO pins : OUT_A_Pin OUT_B_Pin OUT_C_Pin IN_A_Pin
                           IN_B_Pin IN_C_Pin */
  GPIO_InitStruct.Pin = OUT_A_Pin|OUT_B_Pin|OUT_C_Pin|IN_A_Pin
                          |IN_B_Pin|IN_C_Pin;
  GPIO_InitStruct.Mode = GPIO_MODE_OUTPUT_OD;
  GPIO_InitStruct.Pull = GPIO_NOPULL;
  GPIO_InitStruct.Speed = GPIO_SPEED_FREQ_LOW;
  HAL_GPIO_Init(GPIOB, &GPIO_InitStruct);

  /*Configure GPIO pins : LED1_Pin LED2_Pin INH_A_Pin INH_B_Pin
                           INH_C_Pin */
  GPIO_InitStruct.Pin = LED1_Pin|LED2_Pin|INH_A_Pin|INH_B_Pin
                          |INH_C_Pin;
  GPIO_InitStruct.Mode = GPIO_MODE_OUTPUT_PP;
  GPIO_InitStruct.Pull = GPIO_NOPULL;
  GPIO_InitStruct.Speed = GPIO_SPEED_FREQ_LOW;
  HAL_GPIO_Init(GPIOB, &GPIO_InitStruct);

}

/* USER CODE BEGIN 4 */
void HAL_UART_RxCpltCallback(UART_HandleTypeDef *huart){
    uint16_t i, pos, start, length;
    uint16_t currCNDTR = __HAL_DMA_GET_COUNTER(huart->hdmarx);

    /* Ignore IDLE Timeout when the received characters exactly filled up the DMA buffer and DMA Rx Complete IT is generated, but there is no new character during timeout */
    if(dma_uart_rx.flag && currCNDTR == DMA_BUF_SIZE)
    {
        dma_uart_rx.flag = 0;
        return;
    }

    /* Determine start position in DMA buffer based on previous CNDTR value */
    start = (dma_uart_rx.prevCNDTR < DMA_BUF_SIZE) ? (DMA_BUF_SIZE - dma_uart_rx.prevCNDTR) : 0;

    if(dma_uart_rx.flag)    /* Timeout event */
    {
        /* Determine new data length based on previous DMA_CNDTR value:
         *  If previous CNDTR is less than DMA buffer size: there is old data in DMA buffer (from previous timeout) that has to be ignored.
         *  If CNDTR == DMA buffer size: entire buffer content is new and has to be processed.
        */
        length = (dma_uart_rx.prevCNDTR < DMA_BUF_SIZE) ? (dma_uart_rx.prevCNDTR - currCNDTR) : (DMA_BUF_SIZE - currCNDTR);
        dma_uart_rx.prevCNDTR = currCNDTR;
        dma_uart_rx.flag = 0;
    }
    else                /* DMA Rx Complete event */
    {
        length = DMA_BUF_SIZE - start;
        dma_uart_rx.prevCNDTR = DMA_BUF_SIZE;
    }

    /* Copy and Process new data */
    for(i=0,pos=start; i<length; ++i,++pos)
    {
        data[i] = dma_rx_buf[pos];
    }
    USART1DataFlag = true;

}
void HAL_COMP_TriggerCallback(COMP_HandleTypeDef *hcomp){

}

void HAL_TIM_PeriodElapsedCallback(TIM_HandleTypeDef *htim){
	if(htim->Instance == TIM6){

	}
}

void HAL_TIM_IC_CaptureCallback(TIM_HandleTypeDef *htim){
	static uint32_t Count_RisingEdge;
	static uint32_t Count_FallingEdge;
	static uint32_t Count_Freq1;
	static uint32_t Count_Freq2;
	static bool Freq_State;

	if(htim->Channel == HAL_TIM_ACTIVE_CHANNEL_1){
		Count_RisingEdge = TIM15->CCR1;

		if(Freq_State == 0){
			Freq_State = 1;
			Count_Freq1 = Count_RisingEdge;

		}
		else if(Freq_State == 1){
			Freq_State = 0;
			Count_Freq2 = Count_RisingEdge;
			if(Count_Freq2 > Count_Freq1) inputFrequency = 1/((float)Count_Freq2 - (float)Count_Freq1) * 1000000; //in kHz;
		}
	}

	else if(htim->Channel == HAL_TIM_ACTIVE_CHANNEL_2){
		Count_FallingEdge = TIM15->CCR2;

		if(Count_RisingEdge < Count_FallingEdge){
			inputDutyCycle = Count_FallingEdge - Count_RisingEdge;
			input_pwm_min = inputDutyCycle < input_pwm_min ? inputDutyCycle : input_pwm_min;
			input_pwm_max = inputDutyCycle > input_pwm_max ? inputDutyCycle : input_pwm_max;

			//strSize = sprintf((char*)buffer, "DutyCycle: %lu, Frequency: %f\r\n", inputDutyCycle, inputFrequency);
			//HAL_UART_Transmit(&huart1, buffer, strSize, 10);

			newPWM = map(inputDutyCycle, input_pwm_min, input_pwm_max, PWM_MIN, PWM_MAX);
			setPWM = newPWM;

			//inputRPM = map(inputDutyCycle, input_pwm_min, input_pwm_max, 0, 7000);

			Count_RisingEdge = 0;
			Count_FallingEdge = 0;
		}
	}

	if(inputFrequency >= FREQ_INPUT_PWM_MIN && inputFrequency <= FREQ_INPUT_PWM_MAX){
		//strSize = sprintf((char*)buffer, "Frequency %f\t PWM: %d\r\n", inputFrequency, setPWM);
		//HAL_UART_Transmit(&huart1, buffer, strSize, 10);
		if(setPWM >= 200 && motorGotStarted == 0){
			//motorGotStarted = 1;
			motorGotStarted = 1;
			strSize = sprintf((char*)buffer, "Motor Started\r\n");
			HAL_UART_Transmit(&huart1, buffer, strSize, 10);
		}

		if(setPWM <= 50 && motorGotStarted != 0) {
			TIM1->CCR1 = 0;
			TIM1->CCR5 = 0;
		}

		if(motorGotStarted == 2){
			TIM1->CCR1 = setPWM;
			TIM1->CCR5 = setPWM + compWindowOffset;
		}

		/*if(inputRPM >= 1022 && motorGotStarted == 0){
			motorGotStarted = 1;
			strSize = sprintf((char*)buffer, "Motor Started\r\n");
			HAL_UART_Transmit(&huart1, buffer, strSize, 10);
		}

		if(inputRPM <= 800 && motorGotStarted != 0) {
			TIM1->CCR1 = 0;
			TIM1->CCR5 = 0;
			//motorGotStarted = 0;
		}

		if(motorGotStarted == 2){
			//Controller();
			TIM1->CCR1 = setPWM;
			TIM1->CCR5 = setPWM + compWindowOffset;
		}*/
	}
}
/* USER CODE END 4 */

void Error_Handler(void)
{
}

/************************ (C) COPYRIGHT STMicroelectronics *****END OF FILE****/
